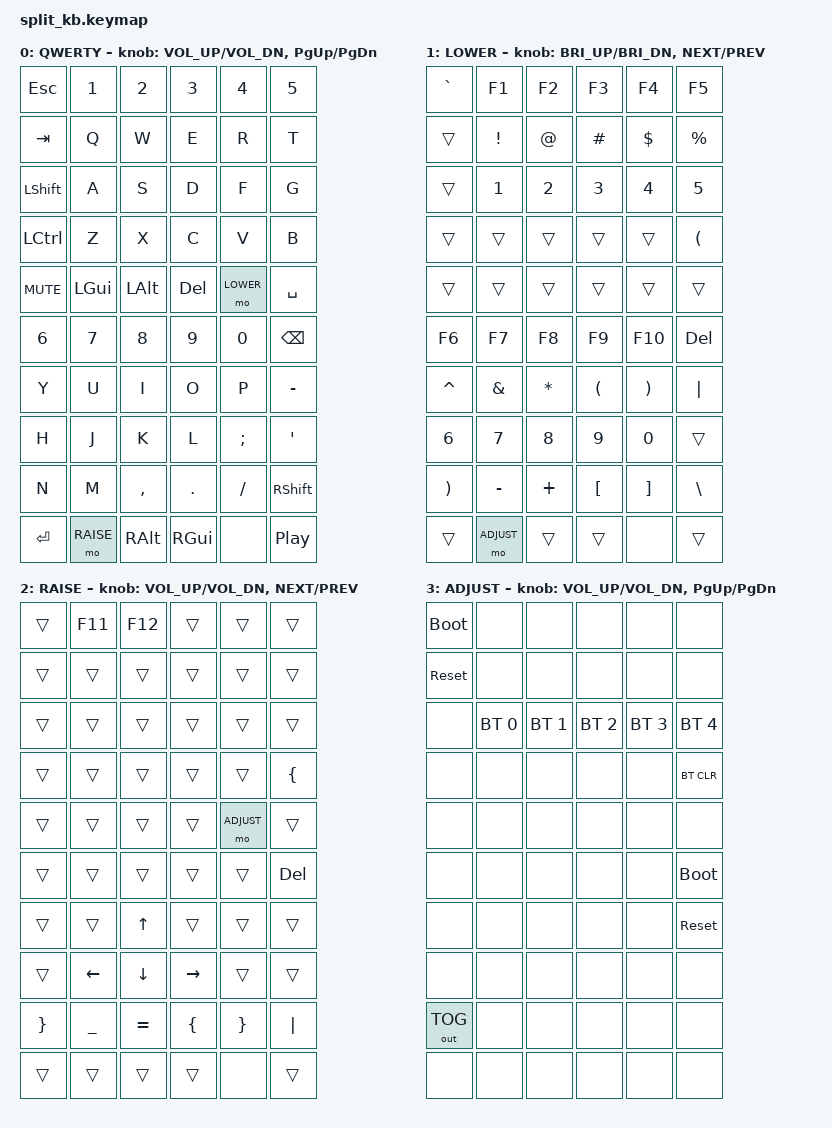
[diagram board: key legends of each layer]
#include <behaviors.dtsi>
#include <dt-bindings/zmk/keys.h>
#include <dt-bindings/zmk/bt.h>
#include <dt-bindings/zmk/outputs.h>

#define DEFAULT 0
#define LOWER   1
#define RAISE   2
#define ADJUST  3

/ {
    keymap {
        compatible = "zmk,keymap";

        default_layer {
            label = "QWERTY";
            bindings = <
/* L-R0 */ &kp ESC    &kp N1    &kp N2    &kp N3    &kp N4    &kp N5
/* L-R1 */ &kp TAB    &kp Q     &kp W     &kp E     &kp R     &kp T
/* L-R2 */ &kp LSHFT  &kp A     &kp S     &kp D     &kp F     &kp G
/* L-R3 */ &kp LCTRL  &kp Z     &kp X     &kp C     &kp V     &kp B
/* L-R4 */ &kp C_MUTE &kp LGUI  &kp LALT  &kp DEL   &mo LOWER &kp SPACE
/* R-R0 */ &kp N6     &kp N7    &kp N8    &kp N9    &kp N0    &kp BSPC
/* R-R1 */ &kp Y      &kp U     &kp I     &kp O     &kp P     &kp MINUS
/* R-R2 */ &kp H      &kp J     &kp K     &kp L     &kp SEMI  &kp SQT
/* R-R3 */ &kp N      &kp M     &kp COMMA &kp DOT   &kp FSLH  &kp RSHFT
/* R-R4 */ &kp RET    &mo RAISE &kp RALT  &kp RGUI  &none     &kp C_PP
            >;
            sensor-bindings = <&inc_dec_kp C_VOL_UP C_VOL_DN
                                &inc_dec_kp PG_UP PG_DN>;
        };

        lower_layer {
            label = "LOWER";
            bindings = <
/* L-R0 */ &kp GRAVE  &kp F1    &kp F2    &kp F3    &kp F4    &kp F5
/* L-R1 */ &trans     &kp EXCL  &kp AT    &kp HASH  &kp DLLR  &kp PRCNT
/* L-R2 */ &trans     &kp N1    &kp N2    &kp N3    &kp N4    &kp N5
/* L-R3 */ &trans     &trans    &trans    &trans    &trans    &kp LPAR
/* L-R4 */ &trans     &trans    &trans    &trans    &trans    &trans
/* R-R0 */ &kp F6     &kp F7    &kp F8    &kp F9    &kp F10   &kp DEL
/* R-R1 */ &kp CARET  &kp AMPS  &kp ASTRK &kp LPAR  &kp RPAR  &kp PIPE
/* R-R2 */ &kp N6     &kp N7    &kp N8    &kp N9    &kp N0    &trans
/* R-R3 */ &kp RPAR   &kp MINUS &kp PLUS  &kp LBKT  &kp RBKT  &kp BSLH
/* R-R4 */ &trans     &mo ADJUST &trans   &trans    &none     &trans
            >;
            sensor-bindings = <&inc_dec_kp C_BRI_UP C_BRI_DN
                                &inc_dec_kp C_NEXT C_PREV>;
        };

        raise_layer {
            label = "RAISE";
            bindings = <
/* L-R0 */ &trans     &kp F11   &kp F12   &trans    &trans    &trans
/* L-R1 */ &trans     &trans    &trans    &trans    &trans    &trans
/* L-R2 */ &trans     &trans    &trans    &trans    &trans    &trans
/* L-R3 */ &trans     &trans    &trans    &trans    &trans    &kp LBRC
/* L-R4 */ &trans     &trans    &trans    &trans    &mo ADJUST &trans
/* R-R0 */ &trans     &trans    &trans    &trans    &trans    &kp DEL
/* R-R1 */ &trans     &trans    &kp UP    &trans    &trans    &trans
/* R-R2 */ &trans     &kp LEFT  &kp DOWN  &kp RIGHT &trans    &trans
/* R-R3 */ &kp RBRC   &kp UNDER &kp EQUAL &kp LBRC  &kp RBRC  &kp PIPE
/* R-R4 */ &trans     &trans    &trans    &trans    &none     &trans
            >;
            sensor-bindings = <&inc_dec_kp C_VOL_UP C_VOL_DN
                                &inc_dec_kp C_NEXT C_PREV>;
        };

        adjust_layer {
            label = "ADJUST";
            bindings = <
/* L-R0 */ &bootloader &none    &none     &none     &none     &none
/* L-R1 */ &sys_reset  &none    &none     &none     &none     &none
/* L-R2 */ &none  &bt BT_SEL 0 &bt BT_SEL 1 &bt BT_SEL 2 &bt BT_SEL 3 &bt BT_SEL 4
/* L-R3 */ &none       &none    &none     &none     &none     &bt BT_CLR
/* L-R4 */ &none       &none    &none     &none     &none     &none
/* R-R0 */ &none       &none    &none     &none     &none     &bootloader
/* R-R1 */ &none       &none    &none     &none     &none     &sys_reset
/* R-R2 */ &none       &none    &none     &none     &none     &none
/* R-R3 */ &out OUT_TOG &none   &none     &none     &none     &none
/* R-R4 */ &none       &none    &none     &none     &none     &none
            >;
            sensor-bindings = <&inc_dec_kp C_VOL_UP C_VOL_DN
                                &inc_dec_kp PG_UP PG_DN>;
        };
    };
};
